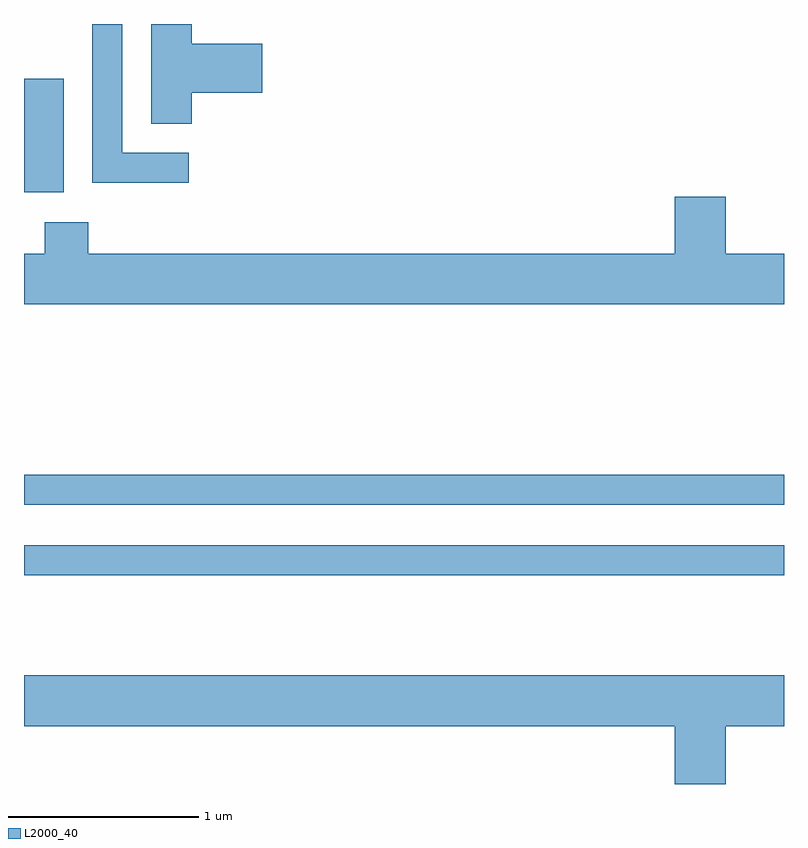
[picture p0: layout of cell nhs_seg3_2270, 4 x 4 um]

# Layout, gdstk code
import gdstk
lib = gdstk.Library(unit=1e-6, precision=1e-09)
def R(c, l, rs):  # rectangles x0, y0, x1, y1
    for r in rs: c.add(gdstk.rectangle(r[:2], r[2:], *l))
def P(c, l, *ps):  # polygons
    for p in ps: c.add(gdstk.Polygon(p, *l))
L2000_40 = (2000, 40)

nhs_seg3_2270 = lib.new_cell('nhs_seg3_2270')
R(nhs_seg3_2270, L2000_40, [(251.611,1168.991,255.611,1169.149), (251.611,1169.361,255.611,1169.519), (251.611,1171.006,251.819,1171.604)])
P(nhs_seg3_2270, L2000_40, [(252.478,1171.214),(252.129,1171.214),(252.129,1171.892),(251.971,1171.892),(251.971,1171.056),(252.478,1171.056)],
  [(252.494,1171.531),(252.864,1171.531),(252.864,1171.789),(252.494,1171.789),(252.494,1171.892),(252.281,1171.892),(252.281,1171.366),(252.494,1171.366)],
  [(255.611,1170.684),(255.304,1170.684),(255.304,1170.984),(255.036,1170.984),(255.036,1170.684),(251.949,1170.684),(251.949,1170.849),(251.721,1170.849),(251.721,1170.684),(251.611,1170.684),(251.611,1170.416),(255.611,1170.416)],
  [(255.304,1168.196),(255.611,1168.196),(255.611,1168.464),(251.611,1168.464),(251.611,1168.196),(255.036,1168.196),(255.036,1167.892),(255.304,1167.892)])

lib.write_gds('nhs_seg3_2270.gds')
